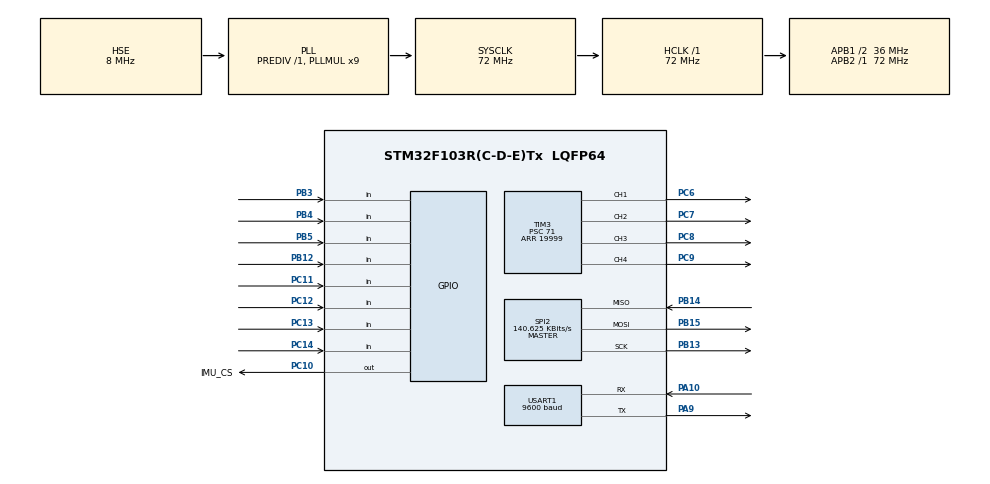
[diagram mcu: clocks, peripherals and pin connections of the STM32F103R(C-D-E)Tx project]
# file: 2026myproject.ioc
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Mcu.Family=STM32F1
Mcu.Name=STM32F103R(C-D-E)Tx
Mcu.Package=LQFP64
NVIC.PriorityGroup=NVIC_PRIORITYGROUP_4
NVIC.TIM3_IRQn=true\:0\:0\:false\:false\:true\:true\:true\:true
NVIC.USART1_IRQn=true\:1\:0\:true\:false\:true\:true\:true\:true
PA10.Mode=Asynchronous
PA10.Signal=USART1_RX
PA13.Mode=Serial_Wire
PA13.Signal=SYS_JTMS-SWDIO
PA14.Mode=Serial_Wire
PA14.Signal=SYS_JTCK-SWCLK
PC10.GPIO_Label=IMU_CS
PC10.PinState=GPIO_PIN_SET
PC10.GPIO_Speed=GPIO_SPEED_FREQ_HIGH
PC10.Signal=GPIO_Output
PB13.Mode=Full_Duplex_Master
PB13.Signal=SPI2_SCK
PB14.Mode=Full_Duplex_Master
PB14.Signal=SPI2_MISO
PB15.Mode=Full_Duplex_Master
PB15.Signal=SPI2_MOSI
PA9.Mode=Asynchronous
PA9.Signal=USART1_TX
PB12.Signal=GPIO_Input
PB3.Signal=GPIO_Input
PB4.Signal=GPIO_Input
PB5.Signal=GPIO_Input
PC11.Signal=GPIO_Input
PC12.Signal=GPIO_Input
PC13-TAMPER-RTC.Signal=GPIO_Input
PC14-OSC32_IN.Signal=GPIO_Input
PC6.Signal=S_TIM3_CH1
PC7.Signal=S_TIM3_CH2
PC8.Signal=S_TIM3_CH3
PC9.Signal=S_TIM3_CH4
PD0-OSC_IN.Mode=HSE-External-Oscillator
PD0-OSC_IN.Signal=RCC_OSC_IN
PD1-OSC_OUT.Mode=HSE-External-Oscillator
PD1-OSC_OUT.Signal=RCC_OSC_OUT
ProjectManager.HeapSize=0x200
ProjectManager.StackSize=0x800
ProjectManager.TargetToolchain=MDK-ARM V5.32
RCC.AHBFreq_Value=72000000
RCC.APB1CLKDivider=RCC_HCLK_DIV2
RCC.APB1Freq_Value=36000000
RCC.APB1TimFreq_Value=72000000
RCC.APB2Freq_Value=72000000
RCC.APB2TimFreq_Value=72000000
RCC.HCLKFreq_Value=72000000
RCC.PLLMUL=RCC_PLL_MUL9
RCC.PLLSourceVirtual=RCC_PLLSOURCE_HSE
RCC.SYSCLKFreq_VALUE=72000000
RCC.SYSCLKSource=RCC_SYSCLKSOURCE_PLLCLK
RCC.USBFreq_Value=72000000
SH.S_TIM3_CH1.0=TIM3_CH1,PWM Generation1 CH1
SH.S_TIM3_CH2.0=TIM3_CH2,PWM Generation2 CH2
SH.S_TIM3_CH3.0=TIM3_CH3,PWM Generation3 CH3
SH.S_TIM3_CH4.0=TIM3_CH4,PWM Generation4 CH4
TIM3.Channel-PWM\ Generation1\ CH1=TIM_CHANNEL_1
TIM3.Channel-PWM\ Generation2\ CH2=TIM_CHANNEL_2
TIM3.Channel-PWM\ Generation3\ CH3=TIM_CHANNEL_3
TIM3.Channel-PWM\ Generation4\ CH4=TIM_CHANNEL_4
TIM3.OCPolarity_1=TIM_OCPOLARITY_LOW
TIM3.OCPolarity_2=TIM_OCPOLARITY_LOW
TIM3.OCPolarity_3=TIM_OCPOLARITY_LOW
TIM3.OCPolarity_4=TIM_OCPOLARITY_LOW
TIM3.Period=19999
TIM3.Prescaler=71
TIM3.Pulse-PWM\ Generation1\ CH1=1000
TIM3.Pulse-PWM\ Generation2\ CH2=1000
TIM3.Pulse-PWM\ Generation3\ CH3=1500
TIM3.Pulse-PWM\ Generation4\ CH4=1500
USART1.BaudRate=9600
USART1.VirtualMode=VM_ASYNC
VP_TIM3_VS_ClockSourceINT.Mode=Internal
board=custom
SPI2.BaudRatePrescaler=SPI_BAUDRATEPRESCALER_256
SPI2.CLKPhase=SPI_PHASE_2EDGE
SPI2.CLKPolarity=SPI_POLARITY_HIGH
SPI2.CalculateBaudRate=140.625 KBits/s
SPI2.Direction=SPI_DIRECTION_2LINES
SPI2.Mode=SPI_MODE_MASTER
SPI2.VirtualType=VM_MASTER

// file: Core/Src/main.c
/* USER CODE BEGIN Header */
/**
  ******************************************************************************
  * @file           : main.c
  * @brief          : Main program body
  ******************************************************************************
  * @attention
  *
  * Copyright (c) 2026 STMicroelectronics.
  * All rights reserved.
  *
  * This software is licensed under terms that can be found in the LICENSE file
  * in the root directory of this software component.
  * If no LICENSE file comes with this software, it is provided AS-IS.
  *
  ******************************************************************************
  */
/* USER CODE END Header */
#include "main.h"

/* USER CODE BEGIN Includes */
#include "pwm.h"
#include "usart.h"
#include "pid.h"
#include "ir.h"
#include "oled.h"
#include "imu.h"
#include "stage.h"
#include "arm.h"

/* USER CODE END Includes */

/* USER CODE BEGIN PD */
/* ---- 机械臂时序（T0 = 第一次看到白线，见主循环）----
 *   T0+1.6s  到夹取点：先用 ARM_GRAB_POSE_RAMP_MS(1.5s) 慢慢摆到"抓取准备"姿态
 *            1421/1700/1350/500；摆好之后自动接着把舵机4 夹紧到 ARM_GRIP_US(1000)
 *   T0+3.8s  开始慢慢摆"末尾动作"（用 arm.h 里的 ARM_END_RAMP_MS=3000ms 渐变到位）
 *   第36秒   松爪完成：提前 ARM_GRIP_OPEN_MS(0.5s) 开始，即 T0+35.5s 起张爪放松 */
#define ARM_GRAB_START_MS   1600U
#define ARM_END_START_MS    3800U
#define ARM_RELEASE_DONE_MS 36000U
/* USER CODE END PD */

SPI_HandleTypeDef hspi2;

TIM_HandleTypeDef htim3;

UART_HandleTypeDef huart1;

void SystemClock_Config(void);
static void MX_GPIO_Init(void);
static void MX_SPI2_Init(void);
static void MX_TIM3_Init(void);
static void MX_USART1_UART_Init(void);

int main(void)
{

  /* USER CODE BEGIN 1 */
  uint8_t  im_ready = 0;           /* 0=等陀螺仪静止校准；1=陀螺仪正常并已发车(GO) */
  uint8_t  run_started = 0;        /* 0=还没见线；1=已见线并正式发 run（计时起点） */
  uint8_t  arm_grab_done = 0;      /* 抓取序列(摆姿态→夹紧)是否已启动 */
  uint8_t  arm_end_started = 0;    /* 末尾动作渐变是否已开始 */
  uint8_t  arm_release_done = 0;   /* 松爪(张开)是否已启动 */
  uint32_t arm_t0 = 0;             /* T0 = 第一次看到白线的时刻(HAL_GetTick) */
  IMU_State imu_state;             /* 查询陀螺仪静止校准是否就绪 */
  /* USER CODE END 1 */

  /* MCU Configuration--------------------------------------------------------*/

  /* Reset of all peripherals, Initializes the Flash interface and the Systick. */
  HAL_Init();

  /* Configure the system clock */
  SystemClock_Config();

  /* Initialize all configured peripherals */
  MX_GPIO_Init();
  MX_TIM3_Init();
  MX_USART1_UART_Init();
  MX_SPI2_Init();
  /* USER CODE BEGIN 2 */
	/* 机械臂先初始化并摆"初始动作"，等它到位之后再初始化 IMU ——
	 * 避免舵机动作的震动/电流影响 IMU 的静止校准。此阶段电机还没启动，车不动。 */
	ARM_Init();
	ARM_PoseInit();
	HAL_Delay(800);

	PWM_Init();
	OLED_Init();
	UART_Init();
	IMU_Init(); /* 上电停车，主循环静止校准后等待 Track=1。 */
	Stage_Init();
	__HAL_TIM_CLEAR_FLAG(&htim3, TIM_FLAG_UPDATE);
	__HAL_TIM_ENABLE_IT(&htim3, TIM_IT_UPDATE);
  /* USER CODE END 2 */

  /* Infinite loop */
  /* USER CODE BEGIN WHILE */
  while (1)
  {
    IMU_Task(); /* 轮询采样、静止校准并发布 YAW；阶段更新在 TIM3 中断。 */
	UART_Task();
    OLED_ShowIMUAngle();
    //IR_Update();

	// UART_IR();//红外变化回报，IR=0/1 控制开关

	 /* ---- (A) 发车：陀螺仪(IMU)静止校准正常 → 切 GO 状态开始直走 ----
	  * 只切状态、不写 PWM；直走(1420/1580)与"见线后切 CENTER"都由阶段机的 GO 状态负责。 */
	 if (im_ready == 0U)
	 {
	 	IMU_GetState(&imu_state);
	 	if (imu_state.ready != 0U)
	 	{
	 		Stage_SetState(STAGE_GO);
	 		im_ready = 1U;
	 	}
	 }

	 /* ---- (B) 计时起点：第一次看到白线 → 正式发 run ----
	  * 阶段机内部所有计时(CatchTime=/Time=/SpeedTime=)都从"见线"起算；
	  * 机械臂的 T0 用同一时刻。 */
	 if ((im_ready != 0U) && (run_started == 0U))
	 {
	 	if (IR_Read() != 0xFFU)              /* 第一次看到白线 */
	 	{
	 		Stage_StartRun();                /* run_start_tick = 见线时刻 */
	 		arm_t0 = HAL_GetTick();
	 		run_started = 1U;
	 	}
	 }

	 /* ---- (C) 机械臂动作：T0 = 第一次看到白线 ---- */
	 if (run_started != 0U)
	 {
	 	uint32_t arm_ms = (uint32_t)(HAL_GetTick() - arm_t0);   /* 距 T0 的毫秒数 */

	 	if ((arm_grab_done == 0U) && (arm_ms >= ARM_GRAB_START_MS))
	 	{
	 		ARM_GrabStart();          /* T0+1.6s：1.5s 摆抓取姿态，摆好后自动夹紧舵机4 */
	 		arm_grab_done = 1U;
	 	}
	 	if ((arm_end_started == 0U) && (arm_ms >= ARM_END_START_MS))
	 	{
	 		ARM_EndRampStart();       /* T0+3.8s：开始 3s 缓慢末尾动作 */
	 		arm_end_started = 1U;
	 	}
	 	/* 松爪(放块)：要求"第36秒完成" → 提前 ARM_GRIP_OPEN_MS 开始，只动舵机4 */
	 	if ((arm_release_done == 0U) && (arm_ms + ARM_GRIP_OPEN_MS >= ARM_RELEASE_DONE_MS))
	 	{
	 		ARM_ReleaseStart();
	 		arm_release_done = 1U;
	 	}
	 }
	 ARM_Task();                       /* 末尾动作的时间驱动渐变（主循环每拍调用） */
    /* USER CODE END WHILE */

  }
}

void SystemClock_Config(void)
{
  RCC_OscInitTypeDef RCC_OscInitStruct = {0};
  RCC_ClkInitTypeDef RCC_ClkInitStruct = {0};

  /** Initializes the RCC Oscillators according to the specified parameters
  * in the RCC_OscInitTypeDef structure.
  */
  RCC_OscInitStruct.OscillatorType = RCC_OSCILLATORTYPE_HSE;
  RCC_OscInitStruct.HSEState = RCC_HSE_ON;
  RCC_OscInitStruct.HSEPredivValue = RCC_HSE_PREDIV_DIV1;
  RCC_OscInitStruct.HSIState = RCC_HSI_ON;
  RCC_OscInitStruct.PLL.PLLState = RCC_PLL_ON;
  RCC_OscInitStruct.PLL.PLLSource = RCC_PLLSOURCE_HSE;
  RCC_OscInitStruct.PLL.PLLMUL = RCC_PLL_MUL9;
  if (HAL_RCC_OscConfig(&RCC_OscInitStruct) != HAL_OK)
  {
    Error_Handler();
  }

  /** Initializes the CPU, AHB and APB buses clocks
  */
  RCC_ClkInitStruct.ClockType = RCC_CLOCKTYPE_HCLK|RCC_CLOCKTYPE_SYSCLK
                              |RCC_CLOCKTYPE_PCLK1|RCC_CLOCKTYPE_PCLK2;
  RCC_ClkInitStruct.SYSCLKSource = RCC_SYSCLKSOURCE_PLLCLK;
  RCC_ClkInitStruct.AHBCLKDivider = RCC_SYSCLK_DIV1;
  RCC_ClkInitStruct.APB1CLKDivider = RCC_HCLK_DIV2;
  RCC_ClkInitStruct.APB2CLKDivider = RCC_HCLK_DIV1;

  if (HAL_RCC_ClockConfig(&RCC_ClkInitStruct, FLASH_LATENCY_2) != HAL_OK)
  {
    Error_Handler();
  }
}

/** SPI2 保留参考接线：PB13 SCK / PB14 MISO / PB15 MOSI / PC10 CS。
  * 与 .ioc 同步；重新生成时由 CubeMX 维护本初始化函数。 */
static void MX_SPI2_Init(void)
{
  hspi2.Instance = SPI2;
  hspi2.Init.Mode = SPI_MODE_MASTER;
  hspi2.Init.Direction = SPI_DIRECTION_2LINES;
  hspi2.Init.DataSize = SPI_DATASIZE_8BIT;
  hspi2.Init.CLKPolarity = SPI_POLARITY_HIGH;
  hspi2.Init.CLKPhase = SPI_PHASE_2EDGE;
  hspi2.Init.NSS = SPI_NSS_SOFT;
  hspi2.Init.BaudRatePrescaler = SPI_BAUDRATEPRESCALER_256;
  hspi2.Init.FirstBit = SPI_FIRSTBIT_MSB;
  hspi2.Init.TIMode = SPI_TIMODE_DISABLE;
  hspi2.Init.CRCCalculation = SPI_CRCCALCULATION_DISABLE;
  hspi2.Init.CRCPolynomial = 7;
  if (HAL_SPI_Init(&hspi2) != HAL_OK) Error_Handler();
}

static void MX_TIM3_Init(void)
{

  TIM_ClockConfigTypeDef sClockSourceConfig = {0};
  TIM_MasterConfigTypeDef sMasterConfig = {0};
  TIM_OC_InitTypeDef sConfigOC = {0};

  htim3.Instance = TIM3;
  htim3.Init.Prescaler = 71;
  htim3.Init.CounterMode = TIM_COUNTERMODE_UP;
  htim3.Init.Period = 19999;
  htim3.Init.ClockDivision = TIM_CLOCKDIVISION_DIV1;
  htim3.Init.AutoReloadPreload = TIM_AUTORELOAD_PRELOAD_DISABLE;
  if (HAL_TIM_Base_Init(&htim3) != HAL_OK)
  {
    Error_Handler();
  }
  sClockSourceConfig.ClockSource = TIM_CLOCKSOURCE_INTERNAL;
  if (HAL_TIM_ConfigClockSource(&htim3, &sClockSourceConfig) != HAL_OK)
  {
    Error_Handler();
  }
  if (HAL_TIM_PWM_Init(&htim3) != HAL_OK)
  {
    Error_Handler();
  }
  sMasterConfig.MasterOutputTrigger = TIM_TRGO_RESET;
  sMasterConfig.MasterSlaveMode = TIM_MASTERSLAVEMODE_DISABLE;
  if (HAL_TIMEx_MasterConfigSynchronization(&htim3, &sMasterConfig) != HAL_OK)
  {
    Error_Handler();
  }
  sConfigOC.OCMode = TIM_OCMODE_PWM1;
  sConfigOC.Pulse = 1000;
  sConfigOC.OCPolarity = TIM_OCPOLARITY_LOW;
  sConfigOC.OCFastMode = TIM_OCFAST_DISABLE;
  if (HAL_TIM_PWM_ConfigChannel(&htim3, &sConfigOC, TIM_CHANNEL_1) != HAL_OK)
  {
    Error_Handler();
  }
  if (HAL_TIM_PWM_ConfigChannel(&htim3, &sConfigOC, TIM_CHANNEL_2) != HAL_OK)
  {
    Error_Handler();
  }
  sConfigOC.Pulse = 1500;
  if (HAL_TIM_PWM_ConfigChannel(&htim3, &sConfigOC, TIM_CHANNEL_3) != HAL_OK)
  {
    Error_Handler();
  }
  if (HAL_TIM_PWM_ConfigChannel(&htim3, &sConfigOC, TIM_CHANNEL_4) != HAL_OK)
  {
    Error_Handler();
  }
  HAL_TIM_MspPostInit(&htim3);

}

static void MX_USART1_UART_Init(void)
{

  huart1.Instance = USART1;
  huart1.Init.BaudRate = 9600;
  huart1.Init.WordLength = UART_WORDLENGTH_8B;
  huart1.Init.StopBits = UART_STOPBITS_1;
  huart1.Init.Parity = UART_PARITY_NONE;
  huart1.Init.Mode = UART_MODE_TX_RX;
  huart1.Init.HwFlowCtl = UART_HWCONTROL_NONE;
  huart1.Init.OverSampling = UART_OVERSAMPLING_16;
  if (HAL_UART_Init(&huart1) != HAL_OK)
  {
    Error_Handler();
  }

}

static void MX_GPIO_Init(void)
{
  GPIO_InitTypeDef GPIO_InitStruct = {0};

  /* GPIO Ports Clock Enable */
  __HAL_RCC_GPIOC_CLK_ENABLE();
  __HAL_RCC_GPIOD_CLK_ENABLE();
  __HAL_RCC_GPIOB_CLK_ENABLE();
  __HAL_RCC_GPIOA_CLK_ENABLE();

  /* PC10 片选上电先拉高，避免误选中；引脚在 .ioc 同步维护。 */
  HAL_GPIO_WritePin(IMU_CS_GPIO_Port, IMU_CS_Pin, GPIO_PIN_SET);
  GPIO_InitStruct.Pin = IMU_CS_Pin;
  GPIO_InitStruct.Mode = GPIO_MODE_OUTPUT_PP;
  GPIO_InitStruct.Pull = GPIO_NOPULL;
  GPIO_InitStruct.Speed = GPIO_SPEED_FREQ_HIGH;
  HAL_GPIO_Init(IMU_CS_GPIO_Port, &GPIO_InitStruct);

  /*Configure GPIO pins : PC13 PC14 PC11 PC12 */
  GPIO_InitStruct.Pin = GPIO_PIN_13|GPIO_PIN_14|GPIO_PIN_11|GPIO_PIN_12;
  GPIO_InitStruct.Mode = GPIO_MODE_INPUT;
  GPIO_InitStruct.Pull = GPIO_NOPULL;
  HAL_GPIO_Init(GPIOC, &GPIO_InitStruct);

  /*Configure GPIO pins : PB12 PB3 PB4 PB5 */
  GPIO_InitStruct.Pin = GPIO_PIN_12|GPIO_PIN_3|GPIO_PIN_4|GPIO_PIN_5;
  GPIO_InitStruct.Mode = GPIO_MODE_INPUT;
  GPIO_InitStruct.Pull = GPIO_NOPULL;
  HAL_GPIO_Init(GPIOB, &GPIO_InitStruct);

}

/* USER CODE BEGIN 4 */
/**
  * @brief  TIM3 20ms 周期中断回调
  * @note   按当前阶段读取红外或已发布角度，计算 PID 并更新 PWM。
  *         此处不要进行串口发送、屏幕刷新、字符串格式化或延时。
  */
void HAL_TIM_PeriodElapsedCallback(TIM_HandleTypeDef *htim)
{
  if (htim->Instance == TIM3)
  {
    tim3_pid_tick_count++;
    Stage_Update();
  }
}
/* USER CODE END 4 */

void Error_Handler(void)
{
  __disable_irq();
  while (1)
  {
  }
}
